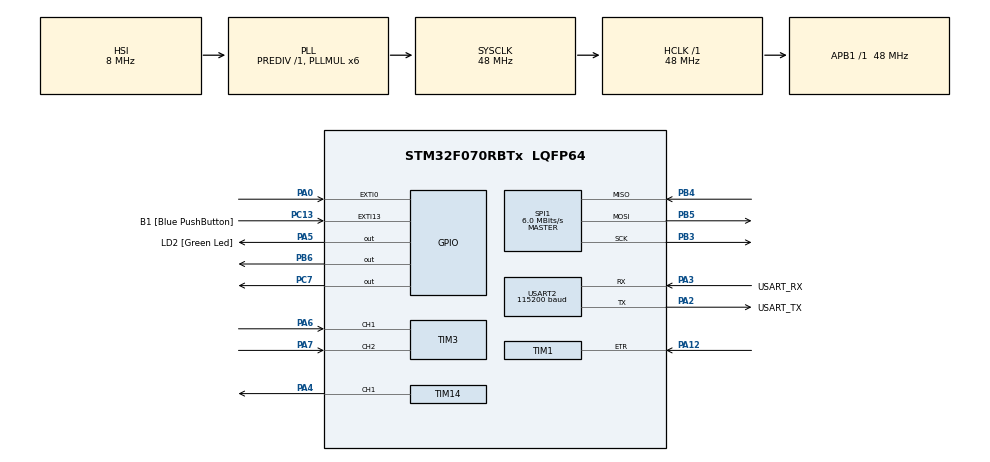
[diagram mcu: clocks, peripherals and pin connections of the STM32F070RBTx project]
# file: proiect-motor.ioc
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Mcu.Family=STM32F0
Mcu.Name=STM32F070RBTx
Mcu.Package=LQFP64
NVIC.EXTI0_1_IRQn=true\:0\:0\:false\:false\:true\:true\:true\:true
NVIC.SPI1_IRQn=true\:1\:0\:true\:false\:true\:true\:true\:true
NVIC.TIM6_IRQn=true\:0\:0\:false\:false\:true\:true\:true\:true
NVIC.TIM7_IRQn=true\:0\:0\:false\:false\:true\:true\:true\:true
PA0.Signal=GPXTI0
PA12.Signal=S_TIM1_ETR
PA13.GPIO_Label=TMS
PA13.Mode=Serial_Wire
PA13.Signal=SYS_SWDIO
PA14.GPIO_Label=TCK
PA14.Mode=Serial_Wire
PA14.Signal=SYS_SWCLK
PA2.GPIO_Label=USART_TX
PA2.Mode=Asynchronous
PA2.Signal=USART2_TX
PA3.GPIO_Label=USART_RX
PA3.Mode=Asynchronous
PA3.Signal=USART2_RX
PA4.Signal=S_TIM14_CH1
PA5.GPIO_Label=LD2 [Green Led]
PA5.Signal=GPIO_Output
PA6.Signal=S_TIM3_CH1
PA7.Signal=S_TIM3_CH2
PB3.Mode=Full_Duplex_Master
PB3.Signal=SPI1_SCK
PB4.Mode=Full_Duplex_Master
PB4.Signal=SPI1_MISO
PB5.Mode=Full_Duplex_Master
PB5.Signal=SPI1_MOSI
PB6.Signal=GPIO_Output
PC13.GPIO_Label=B1 [Blue PushButton]
PC13.GPIO_ModeDefaultEXTI=GPIO_MODE_IT_FALLING
PC13.Signal=GPXTI13
PC14-OSC32_IN.GPIO_Label=RCC_OSC32_IN
PC14-OSC32_IN.Mode=LSE-External-Oscillator
PC14-OSC32_IN.Signal=RCC_OSC32_IN
PC15-OSC32_OUT.GPIO_Label=RCC_OSC32_OUT
PC15-OSC32_OUT.Mode=LSE-External-Oscillator
PC15-OSC32_OUT.Signal=RCC_OSC32_OUT
PC7.Signal=GPIO_Output
PF0-OSC_IN.GPIO_Label=RCC_OSC_IN
PF0-OSC_IN.Mode=HSE-External-Clock-Source
PF0-OSC_IN.Signal=RCC_OSC_IN
PF1-OSC_OUT.GPIO_Label=RCC_OSC_OUT
PF1-OSC_OUT.Signal=RCC_OSC_OUT
ProjectManager.HeapSize=0x200
ProjectManager.StackSize=0x400
ProjectManager.TargetToolchain=STM32CubeIDE
RCC.AHBFreq_Value=48000000
RCC.APB1Freq_Value=48000000
RCC.APB1TimFreq_Value=48000000
RCC.HCLKFreq_Value=48000000
RCC.PLLMUL=RCC_PLL_MUL6
RCC.SYSCLKFreq_VALUE=48000000
RCC.SYSCLKSource=RCC_SYSCLKSOURCE_PLLCLK
SH.S_TIM14_CH1.0=TIM14_CH1,PWM Generation1 CH1
SH.S_TIM1_ETR.0=TIM1_ETR,TriggerSource_ETR
SH.S_TIM3_CH1.0=TIM3_CH1,Encoder_Interface
SH.S_TIM3_CH2.0=TIM3_CH2,Encoder_Interface
SPI1.BaudRatePrescaler=SPI_BAUDRATEPRESCALER_8
SPI1.CalculateBaudRate=6.0 MBits/s
SPI1.Direction=SPI_DIRECTION_2LINES
SPI1.Mode=SPI_MODE_MASTER
SPI1.VirtualType=VM_MASTER
TIM14.Channel=TIM_CHANNEL_1
TIM6.Period=65535
TIM6.Prescaler=0
TIM7.Period=1000
TIM7.Prescaler=479
USART2.BaudRate=115200
USART2.VirtualMode-Asynchronous=VM_ASYNC
VP_TIM14_VS_ClockSourceINT.Mode=Enable_Timer
VP_TIM1_VS_ControllerModeClock.Mode=Clock Mode
VP_TIM6_VS_ClockSourceINT.Mode=Enable_Timer
VP_TIM7_VS_ClockSourceINT.Mode=Enable_Timer
board=NUCLEO-F070RB

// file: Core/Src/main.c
/* USER CODE BEGIN Header */
/**
  ******************************************************************************
  * @file           : main.c
  * @brief          : Main program body
  ******************************************************************************
  * @attention
  *
  * Copyright (c) 2023 STMicroelectronics.
  * All rights reserved.
  *
  * This software is licensed under terms that can be found in the LICENSE file
  * in the root directory of this software component.
  * If no LICENSE file comes with this software, it is provided AS-IS.
  *
  ******************************************************************************
  */
/* USER CODE END Header */
#include "main.h"

/* USER CODE BEGIN Includes */
#include <stdio.h>
#include <stdint.h>
#include <string.h>
#include <math.h>
#include "motor.h"
/* USER CODE END Includes */

SPI_HandleTypeDef hspi1;

TIM_HandleTypeDef htim1;
TIM_HandleTypeDef htim3;
TIM_HandleTypeDef htim6;
TIM_HandleTypeDef htim7;
TIM_HandleTypeDef htim14;

UART_HandleTypeDef huart2;

/* USER CODE BEGIN PV */
static char printf_buf[256];
/* USER CODE END PV */

void SystemClock_Config(void);
static void MX_GPIO_Init(void);
static void MX_USART2_UART_Init(void);
static void MX_SPI1_Init(void);
static void MX_TIM3_Init(void);
static void MX_TIM14_Init(void);
static void MX_TIM1_Init(void);
static void MX_TIM6_Init(void);
static void MX_TIM7_Init(void);

/* USER CODE BEGIN 0 */
// void Filter_Configuration(CAN_HandleTypeDef *, uint16_t, uint16_t, uint8_t);
// void CAN_Interrupt_Enabler(CAN_HandleTypeDef *hcan);
/* USER CODE END 0 */

int main(void)
{

  /* MCU Configuration--------------------------------------------------------*/

  /* Reset of all peripherals, Initializes the Flash interface and the Systick. */
  HAL_Init();

  /* Configure the system clock */
  SystemClock_Config();

  /* Initialize all configured peripherals */
  MX_GPIO_Init();
  MX_USART2_UART_Init();
  MX_SPI1_Init();
  MX_TIM3_Init();
  MX_TIM14_Init();
  MX_TIM1_Init();
  MX_TIM6_Init();
  MX_TIM7_Init();
  /* USER CODE BEGIN 2 */

  HAL_TIM_PWM_Start(&htim14, TIM_CHANNEL_1);
  HAL_TIM_Encoder_Start_IT(&htim3, TIM_CHANNEL_ALL);
  HAL_TIM_Base_Start_IT(&htim1);
  HAL_TIM_Base_Start_IT(&htim6);
  HAL_TIM_Base_Start_IT(&htim7);
  motInit(0);
  /* USER CODE END 2 */

  /* Infinite loop */
  /* USER CODE BEGIN WHILE */
  while (1){
	static uint8_t x = 0;
	static uint32_t timer = 0;
	static float targetVel = 0;
	if(HAL_GPIO_ReadPin(GPIOC, GPIO_PIN_13) == 0){
		if(HAL_GetTick() > timer){
			if(x == 0) targetVel = 64000;
			else if(x == 1) targetVel = 0;
			else if(x == 2) targetVel = -64000;
			else if(x == 3) targetVel = 0;
			motSetTargetVelocity(targetVel);
			x = (x == 4) ? 0 : x+1;
			timer = HAL_GetTick() + 500;
		}
	}
    sprintf(printf_buf, "target(RPM:%f,vel(RPM):%f\n", targetVel, motGetVelocity());
	HAL_UART_Transmit(&huart2, (uint8_t*)printf_buf, strlen(printf_buf), 1000);

    /* USER CODE END WHILE */

  }
}

void SystemClock_Config(void)
{
  RCC_OscInitTypeDef RCC_OscInitStruct = {0};
  RCC_ClkInitTypeDef RCC_ClkInitStruct = {0};

  /** Initializes the RCC Oscillators according to the specified parameters
  * in the RCC_OscInitTypeDef structure.
  */
  RCC_OscInitStruct.OscillatorType = RCC_OSCILLATORTYPE_HSI;
  RCC_OscInitStruct.HSIState = RCC_HSI_ON;
  RCC_OscInitStruct.HSICalibrationValue = RCC_HSICALIBRATION_DEFAULT;
  RCC_OscInitStruct.PLL.PLLState = RCC_PLL_ON;
  RCC_OscInitStruct.PLL.PLLSource = RCC_PLLSOURCE_HSI;
  RCC_OscInitStruct.PLL.PLLMUL = RCC_PLL_MUL6;
  RCC_OscInitStruct.PLL.PREDIV = RCC_PREDIV_DIV1;
  if (HAL_RCC_OscConfig(&RCC_OscInitStruct) != HAL_OK)
  {
    Error_Handler();
  }

  /** Initializes the CPU, AHB and APB buses clocks
  */
  RCC_ClkInitStruct.ClockType = RCC_CLOCKTYPE_HCLK|RCC_CLOCKTYPE_SYSCLK
                              |RCC_CLOCKTYPE_PCLK1;
  RCC_ClkInitStruct.SYSCLKSource = RCC_SYSCLKSOURCE_PLLCLK;
  RCC_ClkInitStruct.AHBCLKDivider = RCC_SYSCLK_DIV1;
  RCC_ClkInitStruct.APB1CLKDivider = RCC_HCLK_DIV1;

  if (HAL_RCC_ClockConfig(&RCC_ClkInitStruct, FLASH_LATENCY_1) != HAL_OK)
  {
    Error_Handler();
  }
}

static void MX_SPI1_Init(void)
{

  /* SPI1 parameter configuration*/
  hspi1.Instance = SPI1;
  hspi1.Init.Mode = SPI_MODE_MASTER;
  hspi1.Init.Direction = SPI_DIRECTION_2LINES;
  hspi1.Init.DataSize = SPI_DATASIZE_4BIT;
  hspi1.Init.CLKPolarity = SPI_POLARITY_LOW;
  hspi1.Init.CLKPhase = SPI_PHASE_1EDGE;
  hspi1.Init.NSS = SPI_NSS_SOFT;
  hspi1.Init.BaudRatePrescaler = SPI_BAUDRATEPRESCALER_8;
  hspi1.Init.FirstBit = SPI_FIRSTBIT_MSB;
  hspi1.Init.TIMode = SPI_TIMODE_DISABLE;
  hspi1.Init.CRCCalculation = SPI_CRCCALCULATION_DISABLE;
  hspi1.Init.CRCPolynomial = 7;
  hspi1.Init.CRCLength = SPI_CRC_LENGTH_DATASIZE;
  hspi1.Init.NSSPMode = SPI_NSS_PULSE_ENABLE;
  if (HAL_SPI_Init(&hspi1) != HAL_OK)
  {
    Error_Handler();
  }

}

static void MX_TIM1_Init(void)
{

  TIM_SlaveConfigTypeDef sSlaveConfig = {0};
  TIM_MasterConfigTypeDef sMasterConfig = {0};

  htim1.Instance = TIM1;
  htim1.Init.Prescaler = 0;
  htim1.Init.CounterMode = TIM_COUNTERMODE_UP;
  htim1.Init.Period = 65535;
  htim1.Init.ClockDivision = TIM_CLOCKDIVISION_DIV1;
  htim1.Init.RepetitionCounter = 0;
  htim1.Init.AutoReloadPreload = TIM_AUTORELOAD_PRELOAD_DISABLE;
  if (HAL_TIM_Base_Init(&htim1) != HAL_OK)
  {
    Error_Handler();
  }
  sSlaveConfig.SlaveMode = TIM_SLAVEMODE_EXTERNAL1;
  sSlaveConfig.InputTrigger = TIM_TS_ETRF;
  sSlaveConfig.TriggerPolarity = TIM_TRIGGERPOLARITY_NONINVERTED;
  sSlaveConfig.TriggerPrescaler = TIM_TRIGGERPRESCALER_DIV1;
  sSlaveConfig.TriggerFilter = 0;
  if (HAL_TIM_SlaveConfigSynchro(&htim1, &sSlaveConfig) != HAL_OK)
  {
    Error_Handler();
  }
  sMasterConfig.MasterOutputTrigger = TIM_TRGO_RESET;
  sMasterConfig.MasterSlaveMode = TIM_MASTERSLAVEMODE_DISABLE;
  if (HAL_TIMEx_MasterConfigSynchronization(&htim1, &sMasterConfig) != HAL_OK)
  {
    Error_Handler();
  }

}

static void MX_TIM3_Init(void)
{

  TIM_Encoder_InitTypeDef sConfig = {0};
  TIM_MasterConfigTypeDef sMasterConfig = {0};

  htim3.Instance = TIM3;
  htim3.Init.Prescaler = 0;
  htim3.Init.CounterMode = TIM_COUNTERMODE_UP;
  htim3.Init.Period = 65535;
  htim3.Init.ClockDivision = TIM_CLOCKDIVISION_DIV1;
  htim3.Init.AutoReloadPreload = TIM_AUTORELOAD_PRELOAD_DISABLE;
  sConfig.EncoderMode = TIM_ENCODERMODE_TI1;
  sConfig.IC1Polarity = TIM_ICPOLARITY_RISING;
  sConfig.IC1Selection = TIM_ICSELECTION_DIRECTTI;
  sConfig.IC1Prescaler = TIM_ICPSC_DIV1;
  sConfig.IC1Filter = 0;
  sConfig.IC2Polarity = TIM_ICPOLARITY_RISING;
  sConfig.IC2Selection = TIM_ICSELECTION_DIRECTTI;
  sConfig.IC2Prescaler = TIM_ICPSC_DIV1;
  sConfig.IC2Filter = 0;
  if (HAL_TIM_Encoder_Init(&htim3, &sConfig) != HAL_OK)
  {
    Error_Handler();
  }
  sMasterConfig.MasterOutputTrigger = TIM_TRGO_RESET;
  sMasterConfig.MasterSlaveMode = TIM_MASTERSLAVEMODE_DISABLE;
  if (HAL_TIMEx_MasterConfigSynchronization(&htim3, &sMasterConfig) != HAL_OK)
  {
    Error_Handler();
  }

}

static void MX_TIM6_Init(void)
{

  htim6.Instance = TIM6;
  htim6.Init.Prescaler = 0;
  htim6.Init.CounterMode = TIM_COUNTERMODE_UP;
  htim6.Init.Period = 65535;
  htim6.Init.AutoReloadPreload = TIM_AUTORELOAD_PRELOAD_DISABLE;
  if (HAL_TIM_Base_Init(&htim6) != HAL_OK)
  {
    Error_Handler();
  }

}

static void MX_TIM7_Init(void)
{

  htim7.Instance = TIM7;
  htim7.Init.Prescaler = 479;
  htim7.Init.CounterMode = TIM_COUNTERMODE_UP;
  htim7.Init.Period = 1000;
  htim7.Init.AutoReloadPreload = TIM_AUTORELOAD_PRELOAD_DISABLE;
  if (HAL_TIM_Base_Init(&htim7) != HAL_OK)
  {
    Error_Handler();
  }

}

static void MX_TIM14_Init(void)
{

  TIM_OC_InitTypeDef sConfigOC = {0};

  htim14.Instance = TIM14;
  htim14.Init.Prescaler = 0;
  htim14.Init.CounterMode = TIM_COUNTERMODE_UP;
  htim14.Init.Period = 65535;
  htim14.Init.ClockDivision = TIM_CLOCKDIVISION_DIV1;
  htim14.Init.AutoReloadPreload = TIM_AUTORELOAD_PRELOAD_DISABLE;
  if (HAL_TIM_Base_Init(&htim14) != HAL_OK)
  {
    Error_Handler();
  }
  if (HAL_TIM_PWM_Init(&htim14) != HAL_OK)
  {
    Error_Handler();
  }
  sConfigOC.OCMode = TIM_OCMODE_PWM1;
  sConfigOC.Pulse = 0;
  sConfigOC.OCPolarity = TIM_OCPOLARITY_HIGH;
  sConfigOC.OCFastMode = TIM_OCFAST_DISABLE;
  if (HAL_TIM_PWM_ConfigChannel(&htim14, &sConfigOC, TIM_CHANNEL_1) != HAL_OK)
  {
    Error_Handler();
  }
  HAL_TIM_MspPostInit(&htim14);

}

static void MX_USART2_UART_Init(void)
{

  huart2.Instance = USART2;
  huart2.Init.BaudRate = 115200;
  huart2.Init.WordLength = UART_WORDLENGTH_8B;
  huart2.Init.StopBits = UART_STOPBITS_1;
  huart2.Init.Parity = UART_PARITY_NONE;
  huart2.Init.Mode = UART_MODE_TX_RX;
  huart2.Init.HwFlowCtl = UART_HWCONTROL_NONE;
  huart2.Init.OverSampling = UART_OVERSAMPLING_16;
  huart2.Init.OneBitSampling = UART_ONE_BIT_SAMPLE_DISABLE;
  huart2.AdvancedInit.AdvFeatureInit = UART_ADVFEATURE_NO_INIT;
  if (HAL_UART_Init(&huart2) != HAL_OK)
  {
    Error_Handler();
  }

}

static void MX_GPIO_Init(void)
{
  GPIO_InitTypeDef GPIO_InitStruct = {0};

  /* GPIO Ports Clock Enable */
  __HAL_RCC_GPIOC_CLK_ENABLE();
  __HAL_RCC_GPIOF_CLK_ENABLE();
  __HAL_RCC_GPIOA_CLK_ENABLE();
  __HAL_RCC_GPIOB_CLK_ENABLE();

  /*Configure GPIO pin Output Level */
  HAL_GPIO_WritePin(LD2_GPIO_Port, LD2_Pin, GPIO_PIN_RESET);

  /*Configure GPIO pin Output Level */
  HAL_GPIO_WritePin(GPIOC, GPIO_PIN_7, GPIO_PIN_RESET);

  /*Configure GPIO pin Output Level */
  HAL_GPIO_WritePin(GPIOB, GPIO_PIN_6, GPIO_PIN_RESET);

  /*Configure GPIO pin : B1_Pin */
  GPIO_InitStruct.Pin = B1_Pin;
  GPIO_InitStruct.Mode = GPIO_MODE_IT_FALLING;
  GPIO_InitStruct.Pull = GPIO_NOPULL;
  HAL_GPIO_Init(B1_GPIO_Port, &GPIO_InitStruct);

  /*Configure GPIO pin : PA0 */
  GPIO_InitStruct.Pin = GPIO_PIN_0;
  GPIO_InitStruct.Mode = GPIO_MODE_IT_RISING;
  GPIO_InitStruct.Pull = GPIO_NOPULL;
  HAL_GPIO_Init(GPIOA, &GPIO_InitStruct);

  /*Configure GPIO pin : LD2_Pin */
  GPIO_InitStruct.Pin = LD2_Pin;
  GPIO_InitStruct.Mode = GPIO_MODE_OUTPUT_PP;
  GPIO_InitStruct.Pull = GPIO_NOPULL;
  GPIO_InitStruct.Speed = GPIO_SPEED_FREQ_LOW;
  HAL_GPIO_Init(LD2_GPIO_Port, &GPIO_InitStruct);

  /*Configure GPIO pin : PC7 */
  GPIO_InitStruct.Pin = GPIO_PIN_7;
  GPIO_InitStruct.Mode = GPIO_MODE_OUTPUT_PP;
  GPIO_InitStruct.Pull = GPIO_NOPULL;
  GPIO_InitStruct.Speed = GPIO_SPEED_FREQ_LOW;
  HAL_GPIO_Init(GPIOC, &GPIO_InitStruct);

  /*Configure GPIO pin : PB6 */
  GPIO_InitStruct.Pin = GPIO_PIN_6;
  GPIO_InitStruct.Mode = GPIO_MODE_OUTPUT_PP;
  GPIO_InitStruct.Pull = GPIO_NOPULL;
  GPIO_InitStruct.Speed = GPIO_SPEED_FREQ_LOW;
  HAL_GPIO_Init(GPIOB, &GPIO_InitStruct);

  /* EXTI interrupt init*/
  HAL_NVIC_SetPriority(EXTI0_1_IRQn, 0, 0);
  HAL_NVIC_EnableIRQ(EXTI0_1_IRQn);

}

/* USER CODE BEGIN 4 */

void HAL_GPIO_EXTI_Callback(uint16_t GPIO_Pin){
	motGpioExtiCallback(GPIO_Pin);
}

void HAL_TIM_PeriodElapsedCallback(TIM_HandleTypeDef *htim){
	motTimPeriodElapsedCallback(htim);
}

/* TODO: check and reimplement
void Filter_Configuration(CAN_HandleTypeDef * hcan, uint16_t mask, uint16_t id, uint8_t fifo_number)
{
	CAN_FilterTypeDef FilterConfigInit;

	// Allows messages in in the format 0b x1_0 000_ _00_

	FilterConfigInit.FilterIdHigh = id << 5;
	FilterConfigInit.FilterIdLow  = 0;
	FilterConfigInit.FilterMaskIdHigh = mask << 5;
	FilterConfigInit.FilterMaskIdLow = 0;
	FilterConfigInit.FilterFIFOAssignment =  CAN_FILTER_FIFO0;
	FilterConfigInit.FilterBank = fifo_number;
	FilterConfigInit.FilterMode = CAN_FILTERMODE_IDMASK;
	FilterConfigInit.FilterScale = CAN_FILTERSCALE_32BIT;
	FilterConfigInit.FilterActivation = CAN_FILTER_ENABLE;
	FilterConfigInit.SlaveStartFilterBank = 0;
	if( HAL_CAN_ConfigFilter(hcan, &FilterConfigInit) != HAL_OK)
		Error_Handler();
}

void CAN_Interrupt_Enabler(CAN_HandleTypeDef * hcan)
{
	if( HAL_CAN_ActivateNotification(hcan, CAN_IT_TX_MAILBOX_EMPTY | CAN_IT_RX_FIFO0_MSG_PENDING | CAN_IT_BUSOFF) != HAL_OK)
		Error_Handler();
}

void HAL_CAN_RxFifo0MsgPendingCallback(CAN_HandleTypeDef *hcan)
{
	CAN_RxHeaderTypeDef RxHeader;
 if(HAL_CAN_GetRxMessage(hcan, CAN_RX_FIFO0, &RxHeader, message) != HAL_OK)
	  Error_Handler();

 // message with 0x400 id represents the startup sequence
 if( RxHeader.StdId == 0x400)
 {
	  // start the timer peripheral
	  if(HAL_TIM_Base_Start_IT(&htim6) != HAL_OK)
		  Error_Handler();

	  // send a fitting message through uart to signify the startup is successful
	  uint8_t msg[50];
	  memset(msg,0,sizeof(msg));
	  sprintf(msg,"Transmission startup successful...\r\n\n");
	  HAL_UART_Transmit(&huart2, msg, strlen(msg), HAL_MAX_DELAY);

	  // clear the information in the message variable so that you don't read dummy values
	  memset(message,0,8);
  }

 else if( RxHeader.StdId == 0x619)
 {
	  // send a fitting message through uart to signify the message was successfully sent
 	  uint8_t msg[50];
	  memset(msg,0,sizeof(msg));
	  sprintf(msg,"Message sent successfully...\r\n\n");
	  HAL_UART_Transmit(&huart2, msg, strlen(msg), HAL_MAX_DELAY);
 }

 else
 {
	  // send a fitting message through uart to signify that the message was sent on the wrong id

	 	  	  uint8_t msg[50];
	 	  	  memset(msg,0,sizeof(msg));
	 	  	  sprintf(msg,"Message sent on the wrong ID...\r\n\n");
	 	  	  HAL_UART_Transmit(&huart2, msg, strlen(msg), HAL_MAX_DELAY);
 }

}
*/

/* USER CODE END 4 */

void Error_Handler(void)
{
  __disable_irq();
  while (1)
  {
  }
}
